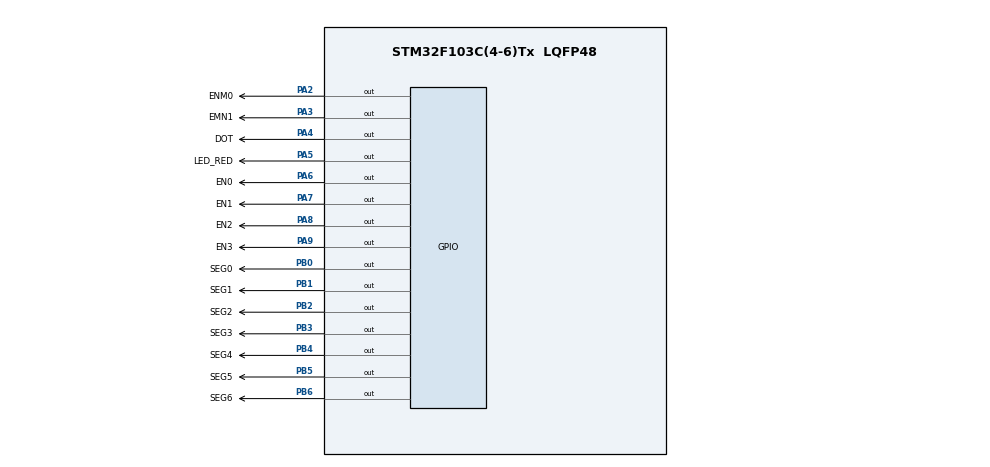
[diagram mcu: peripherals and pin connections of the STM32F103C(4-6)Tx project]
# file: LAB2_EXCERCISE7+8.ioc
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Mcu.Family=STM32F1
Mcu.Name=STM32F103C(4-6)Tx
Mcu.Package=LQFP48
NVIC.PriorityGroup=NVIC_PRIORITYGROUP_4
NVIC.TIM2_IRQn=true\:0\:0\:false\:false\:true\:true\:true
PA2.GPIO_Label=ENM0
PA2.Signal=GPIO_Output
PA3.GPIO_Label=EMN1
PA3.Signal=GPIO_Output
PA4.GPIO_Label=DOT
PA4.Signal=GPIO_Output
PA5.GPIO_Label=LED_RED
PA5.Signal=GPIO_Output
PA6.GPIO_Label=EN0
PA6.Signal=GPIO_Output
PA7.GPIO_Label=EN1
PA7.Signal=GPIO_Output
PA8.GPIO_Label=EN2
PA8.Signal=GPIO_Output
PA9.GPIO_Label=EN3
PA9.Signal=GPIO_Output
PB0.GPIO_Label=SEG0
PB0.Signal=GPIO_Output
PB1.GPIO_Label=SEG1
PB1.Signal=GPIO_Output
PB2.GPIO_Label=SEG2
PB2.Signal=GPIO_Output
PB3.GPIO_Label=SEG3
PB3.Signal=GPIO_Output
PB4.GPIO_Label=SEG4
PB4.Signal=GPIO_Output
PB5.GPIO_Label=SEG5
PB5.Signal=GPIO_Output
PB6.GPIO_Label=SEG6
PB6.Signal=GPIO_Output
ProjectManager.HeapSize=0x200
ProjectManager.StackSize=0x400
ProjectManager.TargetToolchain=STM32CubeIDE
RCC.APB1Freq_Value=8000000
RCC.APB2Freq_Value=8000000
TIM2.Period=9
TIM2.Prescaler=7999
VP_SYS_VS_ND.Mode=No_Debug
VP_TIM2_VS_ClockSourceINT.Mode=Internal
board=custom

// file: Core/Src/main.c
/* USER CODE BEGIN Header */
/**
  ******************************************************************************
  * @file           : main.c
  * @brief          : Main program body
  ******************************************************************************
  * @attention
  *
  * <h2><center>&copy; Copyright (c) 2025 STMicroelectronics.
  * All rights reserved.</center></h2>
  *
  * This software component is licensed by ST under BSD 3-Clause license,
  * the "License"; You may not use this file except in compliance with the
  * License. You may obtain a copy of the License at:
  *                        opensource.org/licenses/BSD-3-Clause
  *
  ******************************************************************************
  */
/* USER CODE END Header */
#include "main.h"

TIM_HandleTypeDef htim2;

void SystemClock_Config(void);
static void MX_GPIO_Init(void);
static void MX_TIM2_Init(void);

/* USER CODE BEGIN 0 */
int timer1_counter = 0;
int timer1_flag = 1;
int timer2_counter = 0;
int timer2_flag = 1;
int TIMER_CYCLE = 10;
void setTimer1 (int duration){
	timer1_counter = duration/TIMER_CYCLE;
	timer1_flag = 0;
}

void setTimer2 (int duration){
	timer2_counter = duration/TIMER_CYCLE;
	timer2_flag = 0;
}

void timer_run(){
	if (timer1_counter > 0){
		timer1_counter--;
		if (timer1_counter <= 0) timer1_flag = 1;
	}
	if (timer2_counter > 0){
		timer2_counter--;
		if (timer2_counter <= 0) timer2_flag = 1;
	}
}
void display7SEG(int num){
	char led7segm[10]={0xC0, 0xF9, 0xA4, 0xB0, 0x99, 0x92, 0x82, 0xF8, 0x80, 0x90};
	for(int i=0;i<7;i++){
		HAL_GPIO_WritePin(GPIOB, SEG0_Pin<<i,(led7segm[num]>>i)&1);
	}
}

const int MAX_LED = 4;
int index_led = 0;
int led_buffer[4] = {1,2,3,4};
void update7SEG(int index){
	HAL_GPIO_WritePin(EN0_GPIO_Port, EN0_Pin, SET);
	HAL_GPIO_WritePin(EN1_GPIO_Port, EN1_Pin, SET);
	HAL_GPIO_WritePin(EN2_GPIO_Port, EN2_Pin, SET);
	HAL_GPIO_WritePin(EN3_GPIO_Port, EN3_Pin, SET);
	switch (index){
	case 0:
		display7SEG(led_buffer[0]);
		HAL_GPIO_WritePin(EN0_GPIO_Port, EN0_Pin, RESET);
		HAL_GPIO_WritePin(EN1_GPIO_Port, EN1_Pin, SET);
		HAL_GPIO_WritePin(EN2_GPIO_Port, EN2_Pin, SET);
		HAL_GPIO_WritePin(EN3_GPIO_Port, EN3_Pin, SET);
		break;
	case 1:
		display7SEG(led_buffer[1]);
		HAL_GPIO_WritePin(EN0_GPIO_Port, EN0_Pin, SET);
		HAL_GPIO_WritePin(EN1_GPIO_Port, EN1_Pin, RESET);
		HAL_GPIO_WritePin(EN2_GPIO_Port, EN2_Pin, SET);
		HAL_GPIO_WritePin(EN3_GPIO_Port, EN3_Pin, SET);
		break;
	case 2:
		display7SEG(led_buffer[2]);
		HAL_GPIO_WritePin(EN0_GPIO_Port, EN0_Pin, SET);
		HAL_GPIO_WritePin(EN1_GPIO_Port, EN1_Pin, SET);
		HAL_GPIO_WritePin(EN2_GPIO_Port, EN2_Pin, RESET);
		HAL_GPIO_WritePin(EN3_GPIO_Port, EN3_Pin, SET);
		break;
	case 3:
		display7SEG(led_buffer[3]);
		HAL_GPIO_WritePin(EN0_GPIO_Port, EN0_Pin, SET);
		HAL_GPIO_WritePin(EN1_GPIO_Port, EN1_Pin, SET);
		HAL_GPIO_WritePin(EN2_GPIO_Port, EN2_Pin, SET);
		HAL_GPIO_WritePin(EN3_GPIO_Port, EN3_Pin, RESET);
		break;
	default:
		HAL_GPIO_WritePin(EN0_GPIO_Port, EN0_Pin, SET);
		HAL_GPIO_WritePin(EN1_GPIO_Port, EN1_Pin, SET);
		HAL_GPIO_WritePin(EN2_GPIO_Port, EN2_Pin, SET);
		HAL_GPIO_WritePin(EN3_GPIO_Port, EN3_Pin, SET);
		break;
	}
}

void updateClockBuffer(int hour, int minute){
	led_buffer[0] = hour / 10;
	led_buffer[1] = hour % 10;
	led_buffer[2] = minute / 10;
	led_buffer[3] = minute % 10;
}

/* USER CODE END 0 */

int main(void)
{

  /* MCU Configuration--------------------------------------------------------*/

  /* Reset of all peripherals, Initializes the Flash interface and the Systick. */
  HAL_Init();

  /* Configure the system clock */
  SystemClock_Config();

  /* Initialize all configured peripherals */
  MX_GPIO_Init();
  MX_TIM2_Init();
  /* USER CODE BEGIN 2 */
  HAL_TIM_Base_Start_IT(&htim2);
      HAL_GPIO_WritePin(DOT_GPIO_Port, DOT_Pin, RESET);
      int hour = 23, minute =  59, second = 55;
      setTimer1(1000);
      int duration=1000;
      updateClockBuffer(hour, minute);
  /* USER CODE END 2 */

  /* Infinite loop */
  while (1)
  {
	  if (timer1_flag == 1){
	    		HAL_GPIO_TogglePin(LED_RED_GPIO_Port, LED_RED_Pin);
	    		HAL_GPIO_TogglePin(DOT_GPIO_Port, DOT_Pin);
	    		setTimer1(2000);
	    		second++;
	    	  	 if (second >= 60) {
	    	  		 second = 0;
	    	  		 minute ++;
	    	  	 }
	    	  	 if(minute >= 60) {
	    	  		 minute = 0;
	    	  		 hour ++;
	    	  	 }
	    	  	 if(hour >=24){
	    	  		 hour = 0;
	    	  	 }
	    	  	  updateClockBuffer(hour, minute);
	    	  	  setTimer1(duration);
	  }
	    	 	 	 	if (timer2_flag == 1){		/*Ex8*/
	    	  			update7SEG(index_led++);
	    	  			index_led = (index_led < MAX_LED) ? index_led : 0;
	    	  			setTimer2(duration/MAX_LED);
	    	}

  }
}

void SystemClock_Config(void)
{
  RCC_OscInitTypeDef RCC_OscInitStruct = {0};
  RCC_ClkInitTypeDef RCC_ClkInitStruct = {0};

  /** Initializes the RCC Oscillators according to the specified parameters
  * in the RCC_OscInitTypeDef structure.
  */
  RCC_OscInitStruct.OscillatorType = RCC_OSCILLATORTYPE_HSI;
  RCC_OscInitStruct.HSIState = RCC_HSI_ON;
  RCC_OscInitStruct.HSICalibrationValue = RCC_HSICALIBRATION_DEFAULT;
  RCC_OscInitStruct.PLL.PLLState = RCC_PLL_NONE;
  if (HAL_RCC_OscConfig(&RCC_OscInitStruct) != HAL_OK)
  {
    Error_Handler();
  }
  /** Initializes the CPU, AHB and APB buses clocks
  */
  RCC_ClkInitStruct.ClockType = RCC_CLOCKTYPE_HCLK|RCC_CLOCKTYPE_SYSCLK
                              |RCC_CLOCKTYPE_PCLK1|RCC_CLOCKTYPE_PCLK2;
  RCC_ClkInitStruct.SYSCLKSource = RCC_SYSCLKSOURCE_HSI;
  RCC_ClkInitStruct.AHBCLKDivider = RCC_SYSCLK_DIV1;
  RCC_ClkInitStruct.APB1CLKDivider = RCC_HCLK_DIV1;
  RCC_ClkInitStruct.APB2CLKDivider = RCC_HCLK_DIV1;

  if (HAL_RCC_ClockConfig(&RCC_ClkInitStruct, FLASH_LATENCY_0) != HAL_OK)
  {
    Error_Handler();
  }
}

static void MX_TIM2_Init(void)
{

  TIM_ClockConfigTypeDef sClockSourceConfig = {0};
  TIM_MasterConfigTypeDef sMasterConfig = {0};

  htim2.Instance = TIM2;
  htim2.Init.Prescaler = 7999;
  htim2.Init.CounterMode = TIM_COUNTERMODE_UP;
  htim2.Init.Period = 9;
  htim2.Init.ClockDivision = TIM_CLOCKDIVISION_DIV1;
  htim2.Init.AutoReloadPreload = TIM_AUTORELOAD_PRELOAD_DISABLE;
  if (HAL_TIM_Base_Init(&htim2) != HAL_OK)
  {
    Error_Handler();
  }
  sClockSourceConfig.ClockSource = TIM_CLOCKSOURCE_INTERNAL;
  if (HAL_TIM_ConfigClockSource(&htim2, &sClockSourceConfig) != HAL_OK)
  {
    Error_Handler();
  }
  sMasterConfig.MasterOutputTrigger = TIM_TRGO_RESET;
  sMasterConfig.MasterSlaveMode = TIM_MASTERSLAVEMODE_DISABLE;
  if (HAL_TIMEx_MasterConfigSynchronization(&htim2, &sMasterConfig) != HAL_OK)
  {
    Error_Handler();
  }

}

static void MX_GPIO_Init(void)
{
  GPIO_InitTypeDef GPIO_InitStruct = {0};

  /* GPIO Ports Clock Enable */
  __HAL_RCC_GPIOA_CLK_ENABLE();
  __HAL_RCC_GPIOB_CLK_ENABLE();

  /*Configure GPIO pin Output Level */
  HAL_GPIO_WritePin(GPIOA, ENM0_Pin|EMN1_Pin|DOT_Pin|LED_RED_Pin
                          |EN0_Pin|EN1_Pin|EN2_Pin|EN3_Pin, GPIO_PIN_SET);

  /*Configure GPIO pin Output Level */
  HAL_GPIO_WritePin(GPIOB, SEG0_Pin|SEG1_Pin|SEG2_Pin|SEG3_Pin
                          |SEG4_Pin|SEG5_Pin|SEG6_Pin, GPIO_PIN_RESET);

  /*Configure GPIO pins : ENM0_Pin EMN1_Pin DOT_Pin LED_RED_Pin
                           EN0_Pin EN1_Pin EN2_Pin EN3_Pin */
  GPIO_InitStruct.Pin = ENM0_Pin|EMN1_Pin|DOT_Pin|LED_RED_Pin
                          |EN0_Pin|EN1_Pin|EN2_Pin|EN3_Pin;
  GPIO_InitStruct.Mode = GPIO_MODE_OUTPUT_PP;
  GPIO_InitStruct.Pull = GPIO_NOPULL;
  GPIO_InitStruct.Speed = GPIO_SPEED_FREQ_LOW;
  HAL_GPIO_Init(GPIOA, &GPIO_InitStruct);

  /*Configure GPIO pins : SEG0_Pin SEG1_Pin SEG2_Pin SEG3_Pin
                           SEG4_Pin SEG5_Pin SEG6_Pin */
  GPIO_InitStruct.Pin = SEG0_Pin|SEG1_Pin|SEG2_Pin|SEG3_Pin
                          |SEG4_Pin|SEG5_Pin|SEG6_Pin;
  GPIO_InitStruct.Mode = GPIO_MODE_OUTPUT_PP;
  GPIO_InitStruct.Pull = GPIO_NOPULL;
  GPIO_InitStruct.Speed = GPIO_SPEED_FREQ_LOW;
  HAL_GPIO_Init(GPIOB, &GPIO_InitStruct);

}

/* USER CODE BEGIN 4 */
const unsigned int Default = 100;
int counter = Default;
int dot_counter = 0;
//ex7
void HAL_TIM_PeriodElapsedCallback(TIM_HandleTypeDef *htim){
	timer_run();
//		if (counter == Default){  /*EX7*/
//				update7SEG(index_led++);
//			}else if (counter == (Default*3/4)){
//				update7SEG(index_led++);
//			}else if (counter == (Default*2/4)){
//				update7SEG(index_led++);
//			}else if (counter == (Default*1/4)){
//				update7SEG(index_led++);
//			}
//			index_led = (index_led < MAX_LED) ? index_led : 0;
//			//giảm counter
//			counter = (counter > 0) ? counter-1 : Default;
}
/* USER CODE END 4 */

void Error_Handler(void)
{
  __disable_irq();
  while (1)
  {
  }
}

/************************ (C) COPYRIGHT STMicroelectronics *****END OF FILE****/
